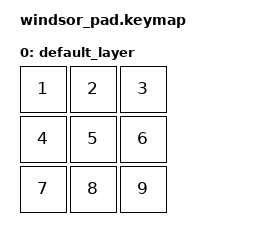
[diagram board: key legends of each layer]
#include <behaviors.dtsi>
#include <dt-bindings/zmk/keys.h>

/ {
    keymap {
        compatible = "zmk,keymap";

        default_layer {
            // ---------------------------------
            // |  1  |  2  |  3  |
            // |  4  |  5  |  6  |
            // |  7  |  8  |  9  |
            bindings = <
                &kp N1  &kp N2  &kp N3
                &kp N4  &kp N5  &kp N6
                &kp N7  &kp N8  &kp N9
            >;
        };
    };
};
